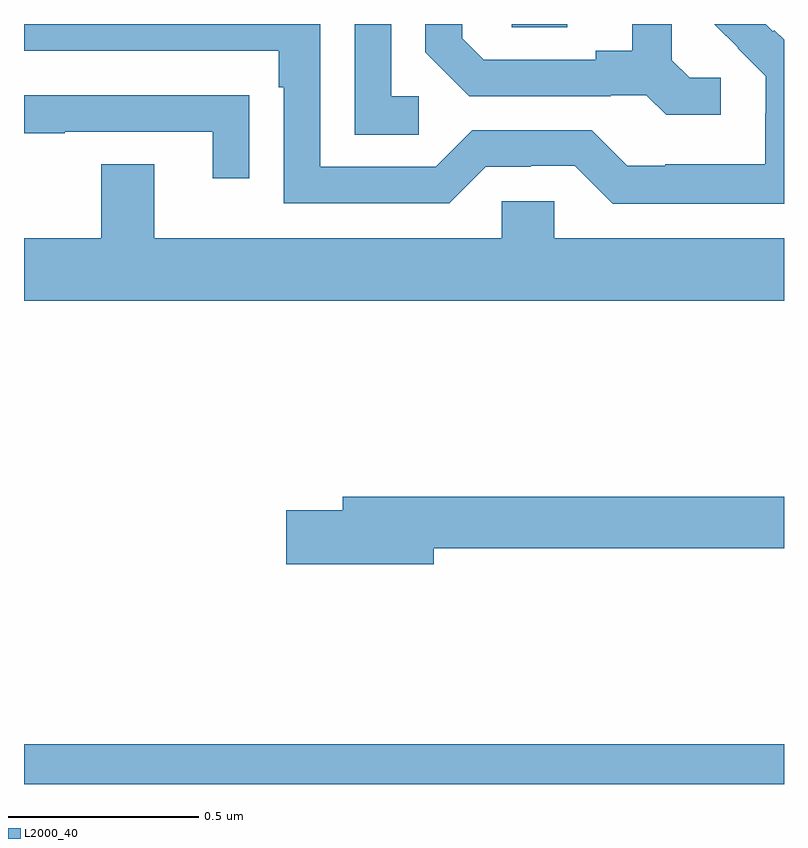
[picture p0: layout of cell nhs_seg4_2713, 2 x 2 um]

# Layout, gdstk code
import gdstk
lib = gdstk.Library(unit=1e-6, precision=1e-09)
def R(c, l, rs):  # rectangles x0, y0, x1, y1
    for r in rs: c.add(gdstk.rectangle(r[:2], r[2:], *l))
def P(c, l, *ps):  # polygons
    for p in ps: c.add(gdstk.Polygon(p, *l))
L2000_40 = (2000, 40)

nhs_seg4_2713 = lib.new_cell('nhs_seg4_2713')
R(nhs_seg4_2713, L2000_40, [(144,776.9,146,777.004), (145.284,778.891,145.429,778.9)])
P(nhs_seg4_2713, L2000_40, [(146,778.858),(145.974,778.884),(145.971,778.881),(145.952,778.9),(145.816,778.9),(145.879,778.837),(145.878,778.836),(145.952,778.762),(145.952,778.665),(145.95,778.665),(145.95,778.531),(145.687,778.531),(145.687,778.527),(145.587,778.527),(145.494,778.62),(145.179,778.62),(145.083,778.524),(144.78,778.524),(144.78,778.9),(144,778.9),(144,778.83),(144.671,778.83),(144.671,778.733),(144.684,778.733),(144.684,778.428),(145.119,778.428),(145.215,778.524),(145.334,778.524),(145.334,778.527),(145.449,778.527),(145.549,778.427),(146,778.427)],
  [(145.834,778.758),(145.752,778.758),(145.705,778.805),(145.705,778.9),(145.601,778.9),(145.601,778.829),(145.505,778.829),(145.505,778.806),(145.21,778.806),(145.153,778.863),(145.153,778.9),(145.056,778.9),(145.056,778.826),(145.172,778.71),(145.544,778.71),(145.544,778.713),(145.638,778.713),(145.69,778.661),(145.834,778.661)],
  [(145.039,778.71),(144.966,778.71),(144.966,778.9),(144.87,778.9),(144.87,778.609),(145.039,778.609)],
  [(144.593,778.712),(144.491,778.712),(144.491,778.713),(144,778.713),(144,778.612),(144.107,778.612),(144.107,778.617),(144.497,778.617),(144.497,778.494),(144.593,778.494)],
  [(146,778.336),(145.395,778.336),(145.395,778.434),(145.257,778.434),(145.257,778.336),(144.343,778.336),(144.343,778.531),(144.203,778.531),(144.203,778.336),(144,778.336),(144,778.172),(146,778.172)],
  [(145.078,777.52),(146,777.52),(146,777.656),(144.839,777.656),(144.839,777.62),(144.69,777.62),(144.69,777.478),(145.078,777.478)])

lib.write_gds('nhs_seg4_2713.gds')
